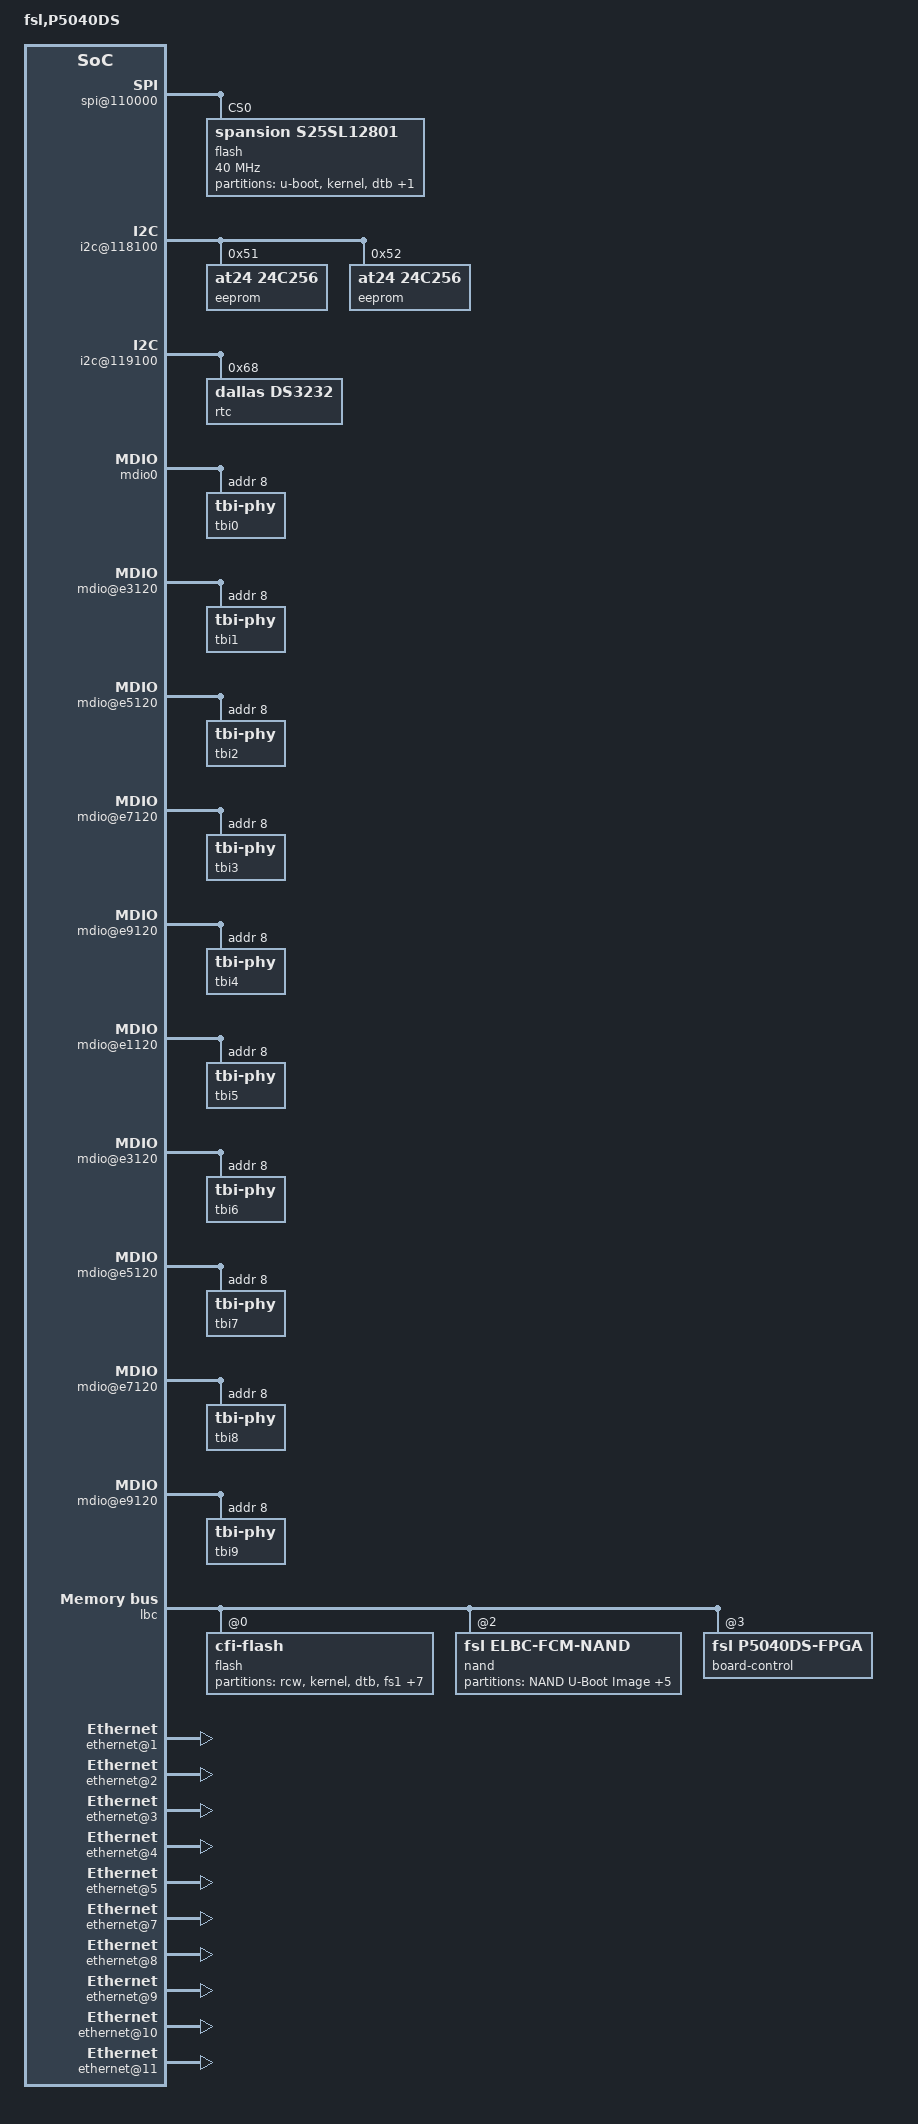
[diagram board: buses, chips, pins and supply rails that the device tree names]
/*
 * P5040DS Device Tree Source
 *
 * Copyright 2012 Freescale Semiconductor Inc.
 *
 * Redistribution and use in source and binary forms, with or without
 * modification, are permitted provided that the following conditions are met:
 *     * Redistributions of source code must retain the above copyright
 *       notice, this list of conditions and the following disclaimer.
 *     * Redistributions in binary form must reproduce the above copyright
 *       notice, this list of conditions and the following disclaimer in the
 *       documentation and/or other materials provided with the distribution.
 *     * Neither the name of Freescale Semiconductor nor the
 *       names of its contributors may be used to endorse or promote products
 *       derived from this software without specific prior written permission.
 *
 *
 * ALTERNATIVELY, this software may be distributed under the terms of the
 * GNU General Public License ("GPL") as published by the Free Software
 * Foundation, either version 2 of that License or (at your option) any
 * later version.
 *
 * THIS SOFTWARE IS PROVIDED BY Freescale Semiconductor "AS IS" AND ANY
 * EXPRESS OR IMPLIED WARRANTIES, INCLUDING, BUT NOT LIMITED TO, THE IMPLIED
 * WARRANTIES OF MERCHANTABILITY AND FITNESS FOR A PARTICULAR PURPOSE ARE
 * DISCLAIMED. IN NO EVENT SHALL Freescale Semiconductor BE LIABLE FOR ANY
 * DIRECT, INDIRECT, INCIDENTAL, SPECIAL, EXEMPLARY, OR CONSEQUENTIAL DAMAGES
 * (INCLUDING, BUT NOT LIMITED TO, PROCUREMENT OF SUBSTITUTE GOODS OR SERVICES;
 * LOSS OF USE, DATA, OR PROFITS; OR BUSINESS INTERRUPTION) HOWEVER CAUSED AND
 * ON ANY THEORY OF LIABILITY, WHETHER IN CONTRACT, STRICT LIABILITY, OR TORT
 * (INCLUDING NEGLIGENCE OR OTHERWISE) ARISING IN ANY WAY OUT OF THE USE OF THIS
 * SOFTWARE, EVEN IF ADVISED OF THE POSSIBILITY OF SUCH DAMAGE.
 */

/include/ "fsl/p5040si-pre.dtsi"

/ {
	model = "fsl,P5040DS";
	compatible = "fsl,P5040DS";
	#address-cells = <2>;
	#size-cells = <2>;
	interrupt-parent = <&mpic>;

	aliases {
		ethernet0 = &fm1dtsec1;
		ethernet1 = &fm1dtsec2;
		ethernet2 = &fm1dtsec3;
		ethernet3 = &fm1dtsec4;
		ethernet4 = &fm1dtsec5;
		ethernet5 = &fm1tgec;
		ethernet6 = &fm2dtsec1;
		ethernet7 = &fm2dtsec2;
		ethernet8 = &fm2dtsec3;
		ethernet9 = &fm2dtsec4;
		ethernet10 = &fm2dtsec5;
		ethernet11 = &fm2tgec;

		phy_sgmii_slot2_1c = &phy_sgmii_slot2_1c;
		phy_sgmii_slot2_1d = &phy_sgmii_slot2_1d;
		phy_sgmii_slot2_1e = &phy_sgmii_slot2_1e;
		phy_sgmii_slot2_1f = &phy_sgmii_slot2_1f;

		phy_sgmii_slot3_1c = &phy_sgmii_slot3_1c;
		phy_sgmii_slot3_1d = &phy_sgmii_slot3_1d;
		phy_sgmii_slot3_1e = &phy_sgmii_slot3_1e;
		phy_sgmii_slot3_1f = &phy_sgmii_slot3_1f;

		phy_sgmii_slot5_1c = &phy_sgmii_slot5_1c;
		phy_sgmii_slot5_1d = &phy_sgmii_slot5_1d;
		phy_sgmii_slot5_1e = &phy_sgmii_slot5_1e;
		phy_sgmii_slot5_1f = &phy_sgmii_slot5_1f;

		phy_sgmii_slot6_1c = &phy_sgmii_slot6_1c;
		phy_sgmii_slot6_1d = &phy_sgmii_slot6_1d;
		phy_sgmii_slot6_1e = &phy_sgmii_slot6_1e;
		phy_sgmii_slot6_1f = &phy_sgmii_slot6_1f;

		hydra_rg = &hydra_rg;
		hydra_sg_slot2 = &hydra_sg_slot2;
		hydra_sg_slot3 = &hydra_sg_slot3;
		hydra_sg_slot5 = &hydra_sg_slot5;
		hydra_sg_slot6 = &hydra_sg_slot6;
		hydra_xg_slot1 = &hydra_xg_slot1;
		hydra_xg_slot2 = &hydra_xg_slot2;
	};

	memory {
		device_type = "memory";
	};

	dcsr: dcsr@f00000000 {
		ranges = <0x00000000 0xf 0x00000000 0x01008000>;
	};

	bportals: bman-portals@ff4000000 {
		ranges = <0x0 0xf 0xf4000000 0x200000>;
	};

	qportals: qman-portals@ff4200000 {
		ranges = <0x0 0xf 0xf4200000 0x200000>;
	};

	soc: soc@ffe000000 {
		ranges = <0x00000000 0xf 0xfe000000 0x1000000>;
		reg = <0xf 0xfe000000 0 0x00001000>;
		spi@110000 {
			flash@0 {
				#address-cells = <1>;
				#size-cells = <1>;
				compatible = "spansion,s25sl12801";
				reg = <0>;
				spi-max-frequency = <40000000>; /* input clock */
				partition@u-boot {
					label = "u-boot";
					reg = <0x00000000 0x00100000>;
					read-only;
				};
				partition@kernel {
					label = "kernel";
					reg = <0x00100000 0x00500000>;
					read-only;
				};
				partition@dtb {
					label = "dtb";
					reg = <0x00600000 0x00100000>;
					read-only;
				};
				partition@fs {
					label = "file system";
					reg = <0x00700000 0x00900000>;
				};
			};
		};

		i2c@118100 {
			eeprom@51 {
				compatible = "at24,24c256";
				reg = <0x51>;
			};
			eeprom@52 {
				compatible = "at24,24c256";
				reg = <0x52>;
			};
		};

		i2c@119100 {
			rtc@68 {
				compatible = "dallas,ds3232";
				reg = <0x68>;
				interrupts = <0x1 0x1 0 0>;
			};
		};

		fman0: fman@400000 {
			fm1dtsec1: ethernet@e0000 {
				tbi-handle = <&tbi0>;
				phy-connection-type = "sgmii";
			};

			mdio0: mdio@e1120 {
				tbi0: tbi-phy@8 {
					reg = <0x8>;
					device_type = "tbi-phy";
				};

				/*
				 * Virtual MDIO for the two on-board RGMII
				 * ports.  The fsl,hydra-mdio-muxval property
				 * is already correct.
				 */
				hydra_rg: hydra-rg {
					#address-cells = <1>;
					#size-cells = <0>;
					compatible = "fsl,hydra-mdio";
					fsl,mdio-handle = <&mdio0>;
					fsl,hydra-mdio-mux-val = <0x08>;
					fsl,hydra-mdio-mux-mask = <0x70>;
					status = "disabled";

					phy_rgmii_0: ethernet-phy@0 {
						reg = <0x0>;
					};
					phy_rgmii_1: ethernet-phy@1 {
						reg = <0x1>;
					};
				};

				/*
				 * Virtual MDIO for the four-port SGMII cards.
				 */

				/* This for Slot 2 */
				hydra_sg_slot2: hydra-sg-slot2 {
					#address-cells = <1>;
					#size-cells = <0>;
					compatible = "fsl,hydra-mdio";
					fsl,mdio-handle = <&mdio0>;
					fsl,hydra-mdio-mux-val = <0x28>;
					fsl,hydra-mdio-mux-mask = <0x70>;
					status = "disabled";

					phy_sgmii_slot2_1c: ethernet-phy@1c {
						reg = <0x1c>;
					};
					phy_sgmii_slot2_1d: ethernet-phy@1d {
						reg = <0x1d>;
					};
					phy_sgmii_slot2_1e: ethernet-phy@1e {
						reg = <0x1e>;
					};
					phy_sgmii_slot2_1f: ethernet-phy@1f {
						reg = <0x1f>;
					};
				};

				/* This for Slot 3 */
				hydra_sg_slot3: hydra-sg-slot3 {
					#address-cells = <1>;
					#size-cells = <0>;
					compatible = "fsl,hydra-mdio";
					fsl,mdio-handle = <&mdio0>;
					fsl,hydra-mdio-mux-val = <0x68>;
					fsl,hydra-mdio-mux-mask = <0x70>;
					status = "disabled";

					phy_sgmii_slot3_1c: ethernet-phy@1c {
						reg = <0x1c>;
					};
					phy_sgmii_slot3_1d: ethernet-phy@1d {
						reg = <0x1d>;
					};
					phy_sgmii_slot3_1e: ethernet-phy@1e {
						reg = <0x1e>;
					};
					phy_sgmii_slot3_1f: ethernet-phy@1f {
						reg = <0x1f>;
					};
				};

				/* This for Slot 5 */
				hydra_sg_slot5: hydra-sg-slot5 {
					#address-cells = <1>;
					#size-cells = <0>;
					compatible = "fsl,hydra-mdio";
					fsl,mdio-handle = <&mdio0>;
					fsl,hydra-mdio-mux-val = <0x38>;
					fsl,hydra-mdio-mux-mask = <0x70>;
					status = "disabled";

					phy_sgmii_slot5_1c: ethernet-phy@1c {
						reg = <0x1c>;
					};
					phy_sgmii_slot5_1d: ethernet-phy@1d {
						reg = <0x1d>;
					};
					phy_sgmii_slot5_1e: ethernet-phy@1e {
						reg = <0x1e>;
					};
					phy_sgmii_slot5_1f: ethernet-phy@1f {
						reg = <0x1f>;
					};
				};

				/* This for Slot 6 */
				hydra_sg_slot6: hydra-sg-slot6 {
					#address-cells = <1>;
					#size-cells = <0>;
					compatible = "fsl,hydra-mdio";
					fsl,mdio-handle = <&mdio0>;
					fsl,hydra-mdio-mux-val = <0x48>;
					fsl,hydra-mdio-mux-mask = <0x70>;
					status = "disabled";

					phy_sgmii_slot6_1c: ethernet-phy@1c {
						reg = <0x1c>;
					};
					phy_sgmii_slot6_1d: ethernet-phy@1d {
						reg = <0x1d>;
					};
					phy_sgmii_slot6_1e: ethernet-phy@1e {
						reg = <0x1e>;
					};
					phy_sgmii_slot6_1f: ethernet-phy@1f {
						reg = <0x1f>;
					};
				};
			};

			fm1dtsec2: ethernet@e2000 {
				tbi-handle = <&tbi1>;
				phy-connection-type = "sgmii";
			};

			mdio@e3120 {
				tbi1: tbi-phy@8 {
					reg = <8>;
					device_type = "tbi-phy";
				};
			};

			fm1dtsec3: ethernet@e4000 {
				tbi-handle = <&tbi2>;
				phy-connection-type = "sgmii";
			};

			mdio@e5120 {
				tbi2: tbi-phy@8 {
					reg = <8>;
					device_type = "tbi-phy";
				};
			};

			fm1dtsec4: ethernet@e6000 {
				tbi-handle = <&tbi3>;
				phy-connection-type = "sgmii";
			};

			mdio@e7120 {
				#address-cells = <1>;
				#size-cells = <0>;
				tbi3: tbi-phy@8 {
					reg = <8>;
					device_type = "tbi-phy";
				};
			};

			fm1dtsec5: ethernet@e8000 {
				tbi-handle = <&tbi4>;
				phy-handle = <&phy_rgmii_0>;
				phy-connection-type = "rgmii";
			};

			mdio@e9120 {
				tbi4: tbi-phy@8 {
					reg = <8>;
					device_type = "tbi-phy";
				};
			};

			fm1tgec: ethernet@f0000 {
				phy-handle = <&phy_xgmii_slot_2>;
				phy-connection-type = "xgmii";
			};

			/*
			 * We only support one XAUI card, so the MDIO muxing
			 * is set by U-Boot, and Linux never touches it.
			 * Therefore, we don't need a virtual MDIO node.
			 * However, the phy address depends on the slot, so
			 * only one of the ethernet-phy nodes below will be
			 * used.
			 */
			xmdio0: mdio@f1000 {
				/* FM2 10GEC1 is always on slot 1 */
				hydra_xg_slot1: hydra-xg-slot1 {
					#address-cells = <1>;
					#size-cells = <0>;
					compatible = "fsl,hydra-xmdio";
					fsl,mdio-handle = <&xmdio0>;
					fsl,hydra-mdio-mux-val = <0x00>;
					fsl,hydra-mdio-mux-mask = <0x06>;
					status = "disabled";

					phy_xgmii_slot_1: ethernet-phy@0 {
						reg = <4>;
					};
				};

				/* FM1 10GEC1 is always on slot 2 */
				hydra_xg_slot2: hydra-xg-slot2 {
					#address-cells = <1>;
					#size-cells = <0>;
					compatible = "fsl,hydra-xmdio";
					fsl,mdio-handle = <&xmdio0>;
					fsl,hydra-mdio-mux-val = <0x02>;
					fsl,hydra-mdio-mux-mask = <0x06>;
					status = "disabled";

					phy_xgmii_slot_2: ethernet-phy@4 {
						reg = <0>;
					};
				};
			};

		};

		fman1: fman@500000 {
			fm2dtsec1: ethernet@e0000 {
				tbi-handle = <&tbi5>;
				phy-connection-type = "sgmii";
			};

			mdio@e1120 {
				tbi5: tbi-phy@8 {
					reg = <8>;
					device_type = "tbi-phy";
				};
			};

			fm2dtsec2: ethernet@e2000 {
				tbi-handle = <&tbi6>;
				phy-connection-type = "sgmii";
			};

			mdio@e3120 {
				tbi6: tbi-phy@8 {
					reg = <8>;
					device_type = "tbi-phy";
				};
			};

			fm2dtsec3: ethernet@e4000 {
				tbi-handle = <&tbi7>;
				phy-connection-type = "sgmii";
			};

			mdio@e5120 {
				tbi7: tbi-phy@8 {
					reg = <8>;
					device_type = "tbi-phy";
				};
			};

			fm2dtsec4: ethernet@e6000 {
				tbi-handle = <&tbi8>;
				phy-connection-type = "sgmii";
			};

			mdio@e7120 {
				tbi8: tbi-phy@8 {
					reg = <8>;
					device_type = "tbi-phy";
				};
			};

			fm2dtsec5: ethernet@e8000 {
				tbi-handle = <&tbi9>;
				phy-handle = <&phy_rgmii_1>;
				phy-connection-type = "rgmii";
			};

			mdio@e9120 {
				tbi9: tbi-phy@8 {
					reg = <8>;
					device_type = "tbi-phy";
				};
			};

			fm2tgec: ethernet@f0000 {
				phy-handle = <&phy_xgmii_slot_1>;
				phy-connection-type = "xgmii";
			};
		};
	};

	lbc: localbus@ffe124000 {
		reg = <0xf 0xfe124000 0 0x1000>;
		ranges = <0 0 0xf 0xe8000000 0x08000000
			  2 0 0xf 0xffa00000 0x00040000
			  3 0 0xf 0xffdf0000 0x00008000>;

		flash@0,0 {
			compatible = "cfi-flash";
			reg = <0 0 0x08000000>;
			bank-width = <2>;
			device-width = <2>;
			#size-cells = <1>;
			#address-cells = <1>;

			partition@0 {
				label = "rcw";
				reg = <0x0 0x20000>;
				read-only;
			};
			partition@20000 {
				label = "kernel";
				reg = <0x20000 0x500000>;
			};
			partition@520000 {
				label = "dtb";
				reg = <0x520000 0x20000>;
			};
			partition@540000 {
				label = "fs1";
				reg = <0x540000 0x3a40000>;
			};
			partition@3f80000 {
				label = "alt-u-boot";
				reg = <0x3f80000 0x80000>;
				read-only;
			};
			partition@4000000 {
				label = "alt-rcw";
				reg = <0x4000000 0x20000>;
				read-only;
			};
			partition@4020000 {
				label = "fs2";
				reg = <0x4020000  0x2fe0000>;
			};
			partition@7000000 {
				label = "fman-firmware";
				reg = <0x7000000 0x20000>;
				read-only;
			};
			partition@7020000 {
				label = "fs3";
				reg = <0x7020000  0xf60000>;
			};
			partition@7f60000 {
				label = "u-boot env";
				reg = <0x7f60000  0x20000>;
				read-only;
			};
			partition@7f80000 {
				label = "u-boot";
				reg = <0x7f80000 0x80000>;
				read-only;
			};
		};

		nand@2,0 {
			#address-cells = <1>;
			#size-cells = <1>;
			compatible = "fsl,elbc-fcm-nand";
			reg = <0x2 0x0 0x40000>;

			partition@0 {
				label = "NAND U-Boot Image";
				reg = <0x0 0x02000000>;
				read-only;
			};

			partition@2000000 {
				label = "NAND Root File System";
				reg = <0x02000000 0x10000000>;
			};

			partition@12000000 {
				label = "NAND Compressed RFS Image";
				reg = <0x12000000 0x08000000>;
			};

			partition@1a000000 {
				label = "NAND Linux Kernel Image";
				reg = <0x1a000000 0x04000000>;
			};

			partition@1e000000 {
				label = "NAND DTB Image";
				reg = <0x1e000000 0x01000000>;
			};

			partition@1f000000 {
				label = "NAND Writable User area";
				reg = <0x1f000000 0x01000000>;
			};
			adt7461@4c {
				compatible = "adi,adt7461";
				reg = <0x4c>;
			};
		};

		board-control@3,0 {
			compatible = "fsl,p5040ds-fpga", "fsl,fpga-ngpixis";
			reg = <3 0 0x40>;
		};
	};

	pci0: pcie@ffe200000 {
		reg = <0xf 0xfe200000 0 0x1000>;
		ranges = <0x02000000 0 0xe0000000 0xc 0x00000000 0x0 0x20000000
			  0x01000000 0 0x00000000 0xf 0xf8000000 0x0 0x00010000>;
		pcie@0 {
			ranges = <0x02000000 0 0xe0000000
				  0x02000000 0 0xe0000000
				  0 0x20000000

				  0x01000000 0 0x00000000
				  0x01000000 0 0x00000000
				  0 0x00010000>;
		};
	};

	pci1: pcie@ffe201000 {
		reg = <0xf 0xfe201000 0 0x1000>;
		ranges = <0x02000000 0x0 0xe0000000 0xc 0x20000000 0x0 0x20000000
			  0x01000000 0x0 0x00000000 0xf 0xf8010000 0x0 0x00010000>;
		pcie@0 {
			ranges = <0x02000000 0 0xe0000000
				  0x02000000 0 0xe0000000
				  0 0x20000000

				  0x01000000 0 0x00000000
				  0x01000000 0 0x00000000
				  0 0x00010000>;
		};
	};

	pci2: pcie@ffe202000 {
		reg = <0xf 0xfe202000 0 0x1000>;
		ranges = <0x02000000 0 0xe0000000 0xc 0x40000000 0 0x20000000
			  0x01000000 0 0x00000000 0xf 0xf8020000 0 0x00010000>;
		pcie@0 {
			ranges = <0x02000000 0 0xe0000000
				  0x02000000 0 0xe0000000
				  0 0x20000000

				  0x01000000 0 0x00000000
				  0x01000000 0 0x00000000
				  0 0x00010000>;
		};
	};

	fsl,dpaa {
		compatible = "fsl,p5040-dpaa", "fsl,dpaa";

		ethernet@0 {
			compatible = "fsl,p5040-dpa-ethernet", "fsl,dpa-ethernet";
			fsl,fman-mac = <&fm1dtsec1>;
			status = "disabled";
		};
		ethernet@1 {
			compatible = "fsl,p5040-dpa-ethernet", "fsl,dpa-ethernet";
			fsl,fman-mac = <&fm1dtsec2>;
		};
		ethernet@2 {
			compatible = "fsl,p5040-dpa-ethernet", "fsl,dpa-ethernet";
			fsl,fman-mac = <&fm1dtsec3>;
		};
		ethernet@3 {
			compatible = "fsl,p5040-dpa-ethernet", "fsl,dpa-ethernet";
			fsl,fman-mac = <&fm1dtsec4>;
		};
		ethernet@4 {
			compatible = "fsl,p5040-dpa-ethernet", "fsl,dpa-ethernet";
			fsl,fman-mac = <&fm1dtsec5>;
		};
		ethernet@5 {
			compatible = "fsl,p5040-dpa-ethernet", "fsl,dpa-ethernet";
			fsl,fman-mac = <&fm1tgec>;
		};
		ethernet@6 {
			compatible = "fsl,p5040-dpa-ethernet", "fsl,dpa-ethernet";
			fsl,fman-mac = <&fm2dtsec1>;
			status = "disabled";
		};
		ethernet@7 {
			compatible = "fsl,p5040-dpa-ethernet", "fsl,dpa-ethernet";
			fsl,fman-mac = <&fm2dtsec2>;
		};
		ethernet@8 {
			compatible = "fsl,p5040-dpa-ethernet", "fsl,dpa-ethernet";
			fsl,fman-mac = <&fm2dtsec3>;
		};
		ethernet@9 {
			compatible = "fsl,p5040-dpa-ethernet", "fsl,dpa-ethernet";
			fsl,fman-mac = <&fm2dtsec4>;
		};
		ethernet@10 {
			compatible = "fsl,p5040-dpa-ethernet", "fsl,dpa-ethernet";
			fsl,fman-mac = <&fm2dtsec5>;
		};
		ethernet@11 {
			compatible = "fsl,p5040-dpa-ethernet", "fsl,dpa-ethernet";
			fsl,fman-mac = <&fm2tgec>;
		};
	};
};

/include/ "fsl/p5040si-post.dtsi"
/include/ "fsl/qoriq-dpaa-res1.dtsi"
